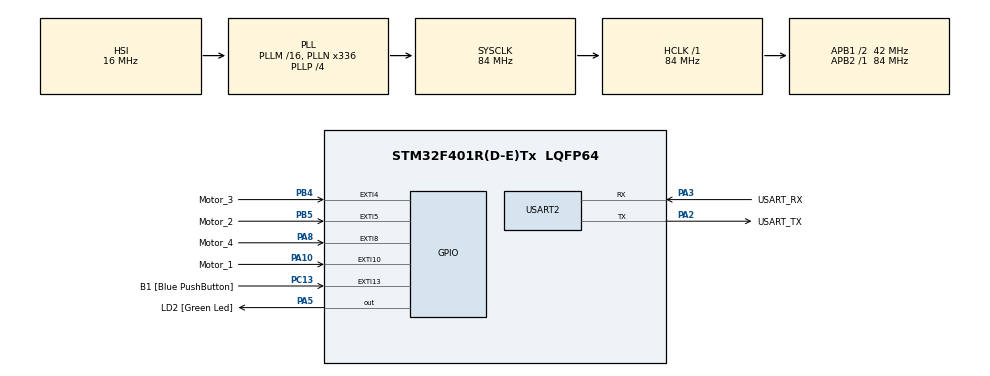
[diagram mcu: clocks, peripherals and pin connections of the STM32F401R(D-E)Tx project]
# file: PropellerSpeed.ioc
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Mcu.Family=STM32F4
Mcu.Name=STM32F401R(D-E)Tx
Mcu.Package=LQFP64
NVIC.EXTI15_10_IRQn=true\:0\:0\:false\:false\:true
NVIC.PriorityGroup=NVIC_PRIORITYGROUP_0
NVIC.TIM2_IRQn=true\:0\:0\:false\:false\:true
PA10.GPIO_Label=Motor_1
PA10.GPIO_ModeDefaultEXTI=GPIO_MODE_IT_FALLING
PA10.Signal=GPXTI10
PA13.GPIO_Label=TMS
PA13.Signal=SYS_JTMS-SWDIO
PA14.GPIO_Label=TCK
PA14.Signal=SYS_JTCK-SWCLK
PA2.GPIO_Label=USART_TX
PA2.GPIO_Mode=GPIO_MODE_AF_PP
PA2.GPIO_PuPd=GPIO_NOPULL
PA2.GPIO_Speed=GPIO_SPEED_FREQ_LOW
PA2.Mode=Asynchronous
PA2.Signal=USART2_TX
PA3.GPIO_Label=USART_RX
PA3.GPIO_Mode=GPIO_MODE_AF_PP
PA3.GPIO_PuPd=GPIO_NOPULL
PA3.GPIO_Speed=GPIO_SPEED_FREQ_LOW
PA3.Mode=Asynchronous
PA3.Signal=USART2_RX
PA5.GPIO_Label=LD2 [Green Led]
PA5.GPIO_Mode=GPIO_MODE_OUTPUT_PP
PA5.GPIO_PuPd=GPIO_NOPULL
PA5.GPIO_Speed=GPIO_SPEED_FREQ_LOW
PA5.Signal=GPIO_Output
PA8.GPIO_Label=Motor_4
PA8.GPIO_ModeDefaultEXTI=GPIO_MODE_IT_FALLING
PA8.Signal=GPXTI8
PB3.GPIO_Label=SWO
PB3.Signal=SYS_JTDO-SWO
PB4.GPIO_Label=Motor_3
PB4.GPIO_ModeDefaultEXTI=GPIO_MODE_IT_FALLING
PB4.Signal=GPXTI4
PB5.GPIO_Label=Motor_2
PB5.GPIO_ModeDefaultEXTI=GPIO_MODE_IT_FALLING
PB5.Signal=GPXTI5
PC13-ANTI_TAMP.GPIO_Label=B1 [Blue PushButton]
PC13-ANTI_TAMP.GPIO_ModeDefaultEXTI=GPIO_MODE_IT_FALLING
PC13-ANTI_TAMP.GPIO_PuPd=GPIO_NOPULL
PC13-ANTI_TAMP.Signal=GPXTI13
PC14-OSC32_IN.Signal=RCC_OSC32_IN
PC15-OSC32_OUT.Signal=RCC_OSC32_OUT
PH0\ -\ OSC_IN.Signal=RCC_OSC_IN
PH1\ -\ OSC_OUT.Signal=RCC_OSC_OUT
ProjectManager.HeapSize=0x200
ProjectManager.StackSize=0x400
ProjectManager.TargetToolchain=SW4STM32
RCC.AHBFreq_Value=84000000
RCC.APB1CLKDivider=RCC_HCLK_DIV2
RCC.APB1Freq_Value=42000000
RCC.APB1TimFreq_Value=84000000
RCC.APB2Freq_Value=84000000
RCC.APB2TimFreq_Value=84000000
RCC.CortexFreq_Value=84000000
RCC.HCLKFreq_Value=84000000
RCC.HSE_VALUE=8000000
RCC.HSI_VALUE=16000000
RCC.LSE_VALUE=32768
RCC.PLLN=336
RCC.PLLP=RCC_PLLP_DIV4
RCC.PLLQ=7
RCC.SYSCLKFreq_VALUE=84000000
RCC.SYSCLKSource=RCC_SYSCLKSOURCE_PLLCLK
RCC.VCOOutputFreq_Value=336000000
TIM2.Period=84000000
TIM2.Prescaler=1
VP_TIM2_VS_ClockSourceINT.Mode=Internal
board=NUCLEO-F401RE

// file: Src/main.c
/**
  ******************************************************************************
  * File Name          : main.c
  * Description        : Main program body
  ******************************************************************************
  *
  * COPYRIGHT(c) 2017 STMicroelectronics
  *
  * Redistribution and use in source and binary forms, with or without modification,
  * are permitted provided that the following conditions are met:
  *   1. Redistributions of source code must retain the above copyright notice,
  *      this list of conditions and the following disclaimer.
  *   2. Redistributions in binary form must reproduce the above copyright notice,
  *      this list of conditions and the following disclaimer in the documentation
  *      and/or other materials provided with the distribution.
  *   3. Neither the name of STMicroelectronics nor the names of its contributors
  *      may be used to endorse or promote products derived from this software
  *      without specific prior written permission.
  *
  * THIS SOFTWARE IS PROVIDED BY THE COPYRIGHT HOLDERS AND CONTRIBUTORS "AS IS"
  * AND ANY EXPRESS OR IMPLIED WARRANTIES, INCLUDING, BUT NOT LIMITED TO, THE
  * IMPLIED WARRANTIES OF MERCHANTABILITY AND FITNESS FOR A PARTICULAR PURPOSE ARE
  * DISCLAIMED. IN NO EVENT SHALL THE COPYRIGHT HOLDER OR CONTRIBUTORS BE LIABLE
  * FOR ANY DIRECT, INDIRECT, INCIDENTAL, SPECIAL, EXEMPLARY, OR CONSEQUENTIAL
  * DAMAGES (INCLUDING, BUT NOT LIMITED TO, PROCUREMENT OF SUBSTITUTE GOODS OR
  * SERVICES; LOSS OF USE, DATA, OR PROFITS; OR BUSINESS INTERRUPTION) HOWEVER
  * CAUSED AND ON ANY THEORY OF LIABILITY, WHETHER IN CONTRACT, STRICT LIABILITY,
  * OR TORT (INCLUDING NEGLIGENCE OR OTHERWISE) ARISING IN ANY WAY OUT OF THE USE
  * OF THIS SOFTWARE, EVEN IF ADVISED OF THE POSSIBILITY OF SUCH DAMAGE.
  *
  ******************************************************************************
  */
#include "main.h"
#include "stm32f4xx_hal.h"
#include "tim.h"
#include "usart.h"
#include "gpio.h"

/* USER CODE BEGIN Includes */
#include <string.h>
#include "interruptHandlers.h"

/* USER CODE END Includes */

/* USER CODE BEGIN PV */
/* Private variables ---------------------------------------------------------*/

// Temp array to use for string generation
uint8_t tempArray[255];

// Variable to debounce the button
uint8_t pressed = 0;

/* USER CODE END PV */

void SystemClock_Config(void);
void Error_Handler(void);

/* USER CODE BEGIN PFP */
/* Private function prototypes -----------------------------------------------*/

/* USER CODE END PFP */

int main(void)
{

  /* MCU Configuration----------------------------------------------------------*/

  /* Reset of all peripherals, Initializes the Flash interface and the Systick. */
  HAL_Init();

  /* Configure the system clock */
  SystemClock_Config();

  /* Initialize all configured peripherals */
  MX_GPIO_Init();
  MX_TIM2_Init();
  MX_USART2_UART_Init();

  /* USER CODE BEGIN 2 */

  // Add the callbacks for the EXTI interrupts

  char* message = "Hello World\r\n";

  HAL_UART_Transmit(&huart2, (uint8_t*) message, strlen(message), 1000);

  // Start the timer
  HAL_TIM_Base_Start_IT(&htim2);

  /* USER CODE END 2 */

  /* Infinite loop */
  while (1)
  {

  /* USER CODE BEGIN 3 */

	  uint8_t button = HAL_GPIO_ReadPin(B1_GPIO_Port, B1_Pin);

	  if (pressed == 0 && button == 0) {
		  // On a button press, set debounce flag
		  pressed = 1;

		  // Create a string of all the average values and then send it over UART2
		  sprintf((char*) tempArray, "%d, %d, %d, %d\r\n", averageValues[0],
				  	  	  	  	  	  	  	  	  	  	   averageValues[1],
														   averageValues[2],
														   averageValues[3]);

		  HAL_UART_Transmit(&huart2, tempArray, strlen((char*) tempArray), 1000);
	  } else if (button == 1) {
		  // Reset debounce flag once button is depressed
		  pressed = 0;
	  }
  }
  /* USER CODE END 3 */

}

/** System Clock Configuration
*/
void SystemClock_Config(void)
{

  RCC_OscInitTypeDef RCC_OscInitStruct;
  RCC_ClkInitTypeDef RCC_ClkInitStruct;

    /**Configure the main internal regulator output voltage
    */
  __HAL_RCC_PWR_CLK_ENABLE();

  __HAL_PWR_VOLTAGESCALING_CONFIG(PWR_REGULATOR_VOLTAGE_SCALE2);

    /**Initializes the CPU, AHB and APB busses clocks
    */
  RCC_OscInitStruct.OscillatorType = RCC_OSCILLATORTYPE_HSI;
  RCC_OscInitStruct.HSIState = RCC_HSI_ON;
  RCC_OscInitStruct.HSICalibrationValue = 16;
  RCC_OscInitStruct.PLL.PLLState = RCC_PLL_ON;
  RCC_OscInitStruct.PLL.PLLSource = RCC_PLLSOURCE_HSI;
  RCC_OscInitStruct.PLL.PLLM = 16;
  RCC_OscInitStruct.PLL.PLLN = 336;
  RCC_OscInitStruct.PLL.PLLP = RCC_PLLP_DIV4;
  RCC_OscInitStruct.PLL.PLLQ = 7;
  if (HAL_RCC_OscConfig(&RCC_OscInitStruct) != HAL_OK)
  {
    Error_Handler();
  }

    /**Initializes the CPU, AHB and APB busses clocks
    */
  RCC_ClkInitStruct.ClockType = RCC_CLOCKTYPE_HCLK|RCC_CLOCKTYPE_SYSCLK
                              |RCC_CLOCKTYPE_PCLK1|RCC_CLOCKTYPE_PCLK2;
  RCC_ClkInitStruct.SYSCLKSource = RCC_SYSCLKSOURCE_PLLCLK;
  RCC_ClkInitStruct.AHBCLKDivider = RCC_SYSCLK_DIV1;
  RCC_ClkInitStruct.APB1CLKDivider = RCC_HCLK_DIV2;
  RCC_ClkInitStruct.APB2CLKDivider = RCC_HCLK_DIV1;

  if (HAL_RCC_ClockConfig(&RCC_ClkInitStruct, FLASH_LATENCY_2) != HAL_OK)
  {
    Error_Handler();
  }

    /**Configure the Systick interrupt time
    */
  HAL_SYSTICK_Config(HAL_RCC_GetHCLKFreq()/1000);

    /**Configure the Systick
    */
  HAL_SYSTICK_CLKSourceConfig(SYSTICK_CLKSOURCE_HCLK);

  /* SysTick_IRQn interrupt configuration */
  HAL_NVIC_SetPriority(SysTick_IRQn, 0, 0);
}

void Error_Handler(void)
{
  while(1)
  {
  }
}

/************************ (C) COPYRIGHT STMicroelectronics *****END OF FILE****/
